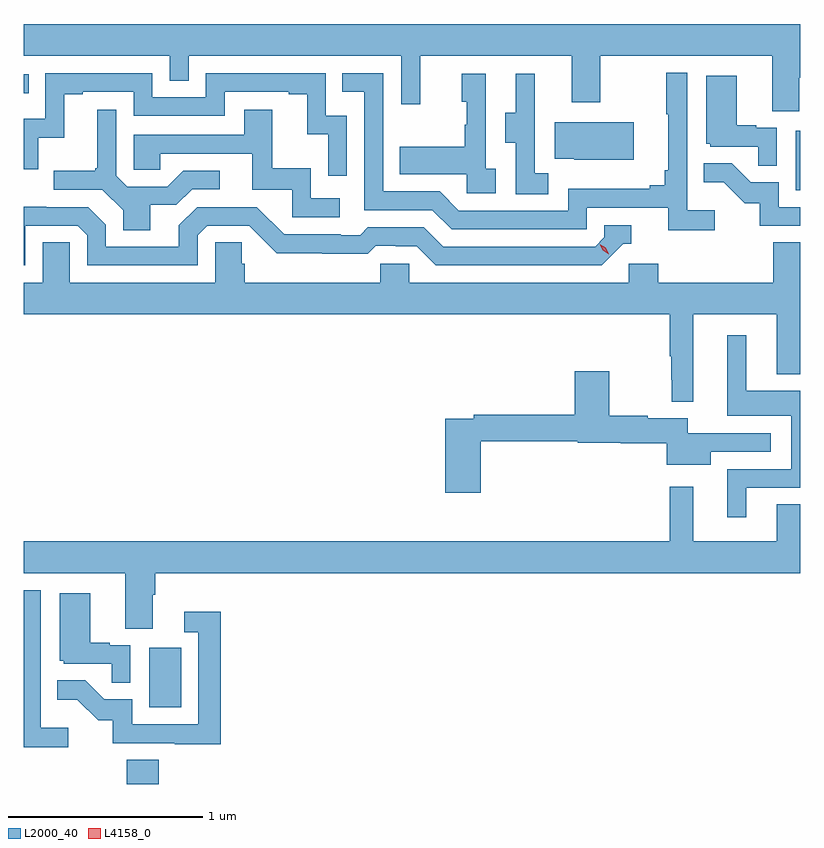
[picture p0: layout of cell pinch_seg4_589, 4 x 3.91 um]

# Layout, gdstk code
import gdstk
lib = gdstk.Library(unit=1e-6, precision=1e-09)
def R(c, l, rs):  # rectangles x0, y0, x1, y1
    for r in rs: c.add(gdstk.rectangle(r[:2], r[2:], *l))
def P(c, l, *ps):  # polygons
    for p in ps: c.add(gdstk.Polygon(p, *l))
L2000_40 = (2000, 40)
L4158_0 = (4158, 0)

pinch_seg4_589 = lib.new_cell('pinch_seg4_589')
R(pinch_seg4_589, L2000_40, [(1047.917,783.746,1048.082,783.872), (1048.034,784.14,1048.198,784.447), (1051.364,786.804,1051.387,787.111), (1047.387,787.304,1047.413,787.401)])
P(pinch_seg4_589, L2000_40, [(1051.381,787.384),(1051.387,787.384),(1051.387,787.66),(1047.387,787.66),(1047.387,787.496),(1048.14,787.496),(1048.14,787.369),(1048.236,787.369),(1048.236,787.496),(1049.331,787.496),(1049.331,787.248),(1049.429,787.248),(1049.429,787.496),(1050.209,787.496),(1050.209,787.257),(1050.357,787.257),(1050.357,787.496),(1051.241,787.496),(1051.241,787.21),(1051.381,787.21)],
  [(1050.946,786.7),(1050.804,786.7),(1050.804,787.408),(1050.696,787.408),(1050.696,787.195),(1050.707,787.195),(1050.707,786.907),(1050.688,786.907),(1050.688,786.83),(1050.611,786.83),(1050.611,786.811),(1050.192,786.811),(1050.192,786.699),(1049.628,786.699),(1049.529,786.798),(1049.238,786.798),(1049.238,787.407),(1049.029,787.407),(1049.029,787.311),(1049.142,787.311),(1049.142,786.702),(1049.492,786.702),(1049.591,786.603),(1050.288,786.603),(1050.288,786.714),(1050.707,786.714),(1050.707,786.598),(1050.946,786.598)],
  [(1049.052,787.188),(1048.944,787.188),(1048.944,787.407),(1048.326,787.407),(1048.326,787.284),(1048.05,787.284),(1048.05,787.407),(1047.498,787.407),(1047.498,787.171),(1047.387,787.171),(1047.387,786.912),(1047.462,786.912),(1047.462,787.073),(1047.595,787.073),(1047.595,787.299),(1047.691,787.299),(1047.691,787.311),(1047.954,787.311),(1047.954,787.188),(1048.422,787.188),(1048.422,787.311),(1048.751,787.311),(1048.751,787.299),(1048.847,787.299),(1048.847,787.091),(1048.956,787.091),(1048.956,786.879),(1049.052,786.879)],
  [(1050.088,786.891),(1050.018,786.891),(1050.018,787.191),(1050.02,787.191),(1050.02,787.405),(1049.921,787.405),(1049.921,787.203),(1049.867,787.203),(1049.867,787.048),(1049.922,787.048),(1049.922,786.784),(1050.088,786.784)],
  [(1049.818,786.914),(1049.766,786.914),(1049.766,787.405),(1049.642,787.405),(1049.642,787.26),(1049.668,787.26),(1049.668,787.142),(1049.658,787.142),(1049.658,787.027),(1049.323,787.027),(1049.323,786.887),(1049.67,786.887),(1049.67,786.789),(1049.818,786.789)],
  [(1051.266,787.125),(1051.16,787.125),(1051.16,787.138),(1051.06,787.138),(1051.06,787.393),(1050.902,787.393),(1050.902,787.044),(1050.924,787.044),(1050.924,787.029),(1051.171,787.029),(1051.171,786.931),(1051.266,786.931)],
  [(1049.014,786.762),(1048.866,786.762),(1048.866,786.916),(1048.667,786.916),(1048.667,787.219),(1048.523,787.219),(1048.523,787.089),(1047.954,787.089),(1047.954,786.909),(1048.091,786.909),(1048.091,786.993),(1048.565,786.993),(1048.565,786.807),(1048.77,786.807),(1048.77,786.666),(1049.014,786.666)],
  [(1048.039,786.73),(1048.174,786.73),(1048.254,786.81),(1048.396,786.81),(1048.396,786.903),(1048.208,786.903),(1048.127,786.822),(1047.921,786.822),(1047.864,786.879),(1047.864,787.219),(1047.767,787.219),(1047.767,786.916),(1047.756,786.916),(1047.756,786.904),(1047.543,786.904),(1047.543,786.807),(1047.792,786.807),(1047.899,786.7),(1047.899,786.598),(1048.039,786.598)],
  [(1050.529,787.153),(1050.121,787.153),(1050.121,786.965),(1050.223,786.965),(1050.223,786.962),(1050.529,786.962)],
  [(1051.387,786.717),(1051.275,786.717),(1051.275,786.846),(1051.131,786.846),(1051.033,786.944),(1050.889,786.944),(1050.889,786.845),(1050.993,786.845),(1051.1,786.738),(1051.177,786.738),(1051.177,786.621),(1051.387,786.621)],
  [(1047.396,786.621),(1047.666,786.621),(1047.714,786.573),(1047.714,786.417),(1048.284,786.417),(1048.284,786.573),(1048.332,786.621),(1048.548,786.621),(1048.69,786.479),(1048.926,786.479),(1048.926,786.477),(1049.159,786.477),(1049.201,786.519),(1049.304,786.519),(1049.304,786.516),(1049.411,786.516),(1049.51,786.417),(1050.363,786.417),(1050.474,786.528),(1050.517,786.528),(1050.517,786.624),(1050.378,786.624),(1050.378,786.561),(1050.33,786.513),(1049.547,786.513),(1049.448,786.612),(1049.159,786.612),(1049.12,786.573),(1049.021,786.573),(1049.021,786.576),(1048.728,786.576),(1048.587,786.717),(1048.281,786.717),(1048.187,786.623),(1048.187,786.513),(1047.81,786.513),(1047.81,786.627),(1047.72,786.717),(1047.504,786.717),(1047.504,786.719),(1047.387,786.719),(1047.387,786.417),(1047.396,786.417)],
  [(1050.835,786.164),(1051.265,786.164),(1051.265,785.855),(1051.387,785.855),(1051.387,786.536),(1051.247,786.536),(1051.247,786.328),(1050.656,786.328),(1050.656,786.426),(1050.504,786.426),(1050.504,786.328),(1049.373,786.328),(1049.373,786.426),(1049.223,786.426),(1049.223,786.328),(1048.526,786.328),(1048.526,786.426),(1048.511,786.426),(1048.511,786.536),(1048.374,786.536),(1048.374,786.328),(1047.624,786.328),(1047.624,786.536),(1047.485,786.536),(1047.485,786.328),(1047.387,786.328),(1047.387,786.164),(1050.714,786.164),(1050.714,785.948),(1050.721,785.948),(1050.721,785.827),(1050.725,785.827),(1050.725,785.715),(1050.835,785.715)],
  [(1051.108,785.271),(1051.387,785.271),(1051.387,785.77),(1051.108,785.77),(1051.108,786.058),(1051.01,786.058),(1051.01,785.642),(1051.34,785.642),(1051.34,785.367),(1051.01,785.367),(1051.01,785.121),(1051.108,785.121)],
  [(1049.741,785.512),(1050.24,785.512),(1050.24,785.504),(1050.462,785.504),(1050.462,785.501),(1050.698,785.501),(1050.698,785.39),(1050.925,785.39),(1050.925,785.457),(1051.234,785.457),(1051.234,785.553),(1050.808,785.553),(1050.808,785.629),(1050.602,785.629),(1050.602,785.642),(1050.402,785.642),(1050.402,785.872),(1050.224,785.872),(1050.224,785.648),(1049.704,785.648),(1049.704,785.628),(1049.558,785.628),(1049.558,785.247),(1049.741,785.247)],
  [(1051.387,785.186),(1051.265,785.186),(1051.265,784.996),(1050.835,784.996),(1050.835,785.278),(1050.714,785.278),(1050.714,784.996),(1047.387,784.996),(1047.387,784.832),(1047.911,784.832),(1047.911,784.546),(1048.051,784.546),(1048.051,784.72),(1048.064,784.72),(1048.064,784.832),(1051.387,784.832)],
  [(1047.616,784.036),(1047.474,784.036),(1047.474,784.744),(1047.387,784.744),(1047.387,783.934),(1047.616,783.934)],
  [(1047.936,784.461),(1047.83,784.461),(1047.83,784.474),(1047.73,784.474),(1047.73,784.729),(1047.572,784.729),(1047.572,784.38),(1047.594,784.38),(1047.594,784.365),(1047.841,784.365),(1047.841,784.267),(1047.936,784.267)],
  [(1048.403,784.633),(1048.215,784.633),(1048.215,784.527),(1048.287,784.527),(1048.287,784.053),(1047.945,784.053),(1047.945,784.182),(1047.801,784.182),(1047.703,784.28),(1047.559,784.28),(1047.559,784.181),(1047.663,784.181),(1047.77,784.074),(1047.847,784.074),(1047.847,783.957),(1048.165,783.957),(1048.165,783.952),(1048.403,783.952)])
P(pinch_seg4_589, L4158_0, [(1050.401,786.475),(1050.37,786.494),(1050.354,786.527),(1050.354,786.527),(1050.354,786.527),(1050.385,786.508),(1050.401,786.475),(1050.401,786.475)])

lib.write_gds('pinch_seg4_589.gds')
